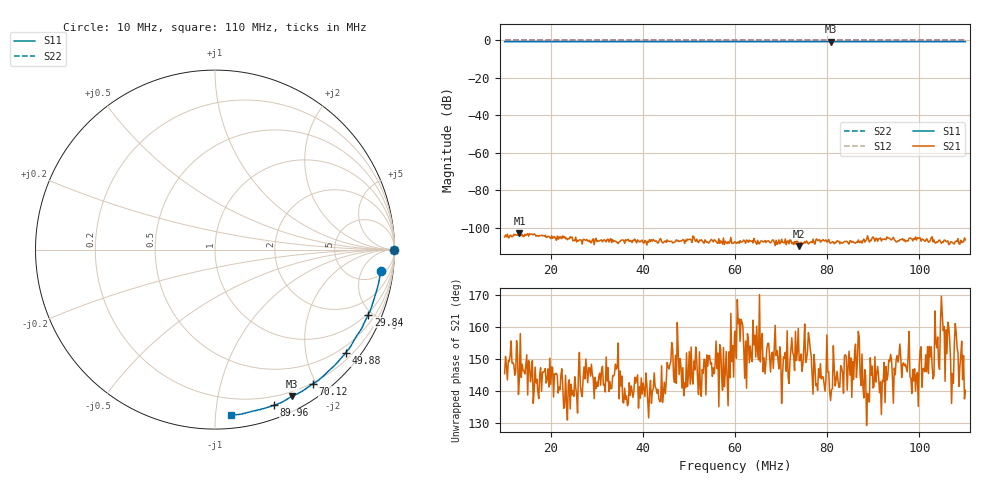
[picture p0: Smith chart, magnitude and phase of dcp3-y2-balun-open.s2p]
! Anritsu VNA Master:  Model: MS2034B/10/19/501
! SN:  1337062
! /bd0/ovro-jan-2016/dcp3-y2-balun-open.s2p
! Existing Calibration Information:
! TYPE:  Current Settings,  Active Cal Settings
! TIME:  01/14/2016 12:17:28 PM,  01/14/2016 12:01:10 PM
! INTERNAL TEMP:  44.0 C,  43.8 C
! # POINTS:  500,  500
! START FREQ:  10.000 MHz,  10.000 MHz
! STOP FREQ:  110.000 MHz,  110.000 MHz
! SOURCE POWER:  High,  High
! IFBW:  100 Hz,  100 Hz
! AVG FACTOR:  4 ,  4
! REF PLANE 1:  0 mm,  0 mm
! REF PLANE 2:  0 mm,  0 mm
! CAL TYPE:  Full S11,  Full S11
! CAL METHOD:  SOLT,  SOLT
! CAL LINE TYPE:  Coax,  Coax
! DUT PORT 1:  K-Conn(M),  K-Conn(M)
! DUT PORT 2:  N-Conn(M),  N-Conn(M)
! CAL STATUS:  OK: Accuracy High,  --
# GHZ S DB R 50.0
! FREQ.GHZ  S11DB  S11A  S21DB  S21A  S12DB  S12A  S22DB  S22A
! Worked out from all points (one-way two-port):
!   500 points, 10 MHz to 110 MHz, reference 50 ohm
!   highest |S21| = -102.76 dB at 13.21 MHz (marker M1); lowest = -109.9 dB at 73.93 MHz (marker M2)
!   lowest |S11| = -0.7 dB at 80.74 MHz (marker M3), VSWR 25.12, Z = 7.42 - j82.3 ohm
!   |S11| at or under -10 dB: nowhere
!   |S22| runs from 0.0 to 0.0 dB; largest |S21 - S12| = 1
!   S11 on the Smith chart (normalised r, x): 10 MHz: 7, -12; 29.84 MHz: 0.91, -4.76; 49.88 MHz: 0.34, -2.84; 70.12 MHz: 0.19, -1.95; 89.96 MHz: 0.12, -1.44; 110 MHz: 0.08, -1.10
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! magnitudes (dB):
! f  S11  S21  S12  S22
! 10 MHz  -0.6  -105.0  0.0  0.0
! 13.21 MHz  -0.6  -102.8  0.0  0.0
! 22.02 MHz  -0.6  -105.7  0.0  0.0
! 26.83 MHz  -0.6  -108.8  0.0  0.0
! 29.84 MHz  -0.6  -105.6  0.0  0.0
! 37.66 MHz  -0.7  -108.0  0.0  0.0
! 41.26 MHz  -0.7  -107.7  0.0  0.0
! 43.47 MHz  -0.7  -107.5  0.0  0.0
! 46.87 MHz  -0.6  -107.7  0.0  0.0
! 49.88 MHz  -0.6  -106.5  0.0  0.0
! 60.1 MHz  -0.7  -107.6  0.0  0.0
! 66.71 MHz  -0.6  -107.9  0.0  0.0
! 70.12 MHz  -0.7  -106.2  0.0  0.0
! 73.93 MHz  -0.7  -109.9  0.0  0.0
! 76.73 MHz  -0.7  -108.0  0.0  0.0
! 80.74 MHz  -0.7  -108.1  0.0  0.0
! 86.55 MHz  -0.6  -107.9  0.0  0.0
! 89.96 MHz  -0.7  -104.9  0.0  0.0
! 93.37 MHz  -0.7  -105.5  0.0  0.0
! 98.98 MHz  -0.7  -106.3  0.0  0.0
! 104.8 MHz  -0.6  -108.4  0.0  0.0
! 110 MHz  -0.7  -106.5  0.0  0.0
